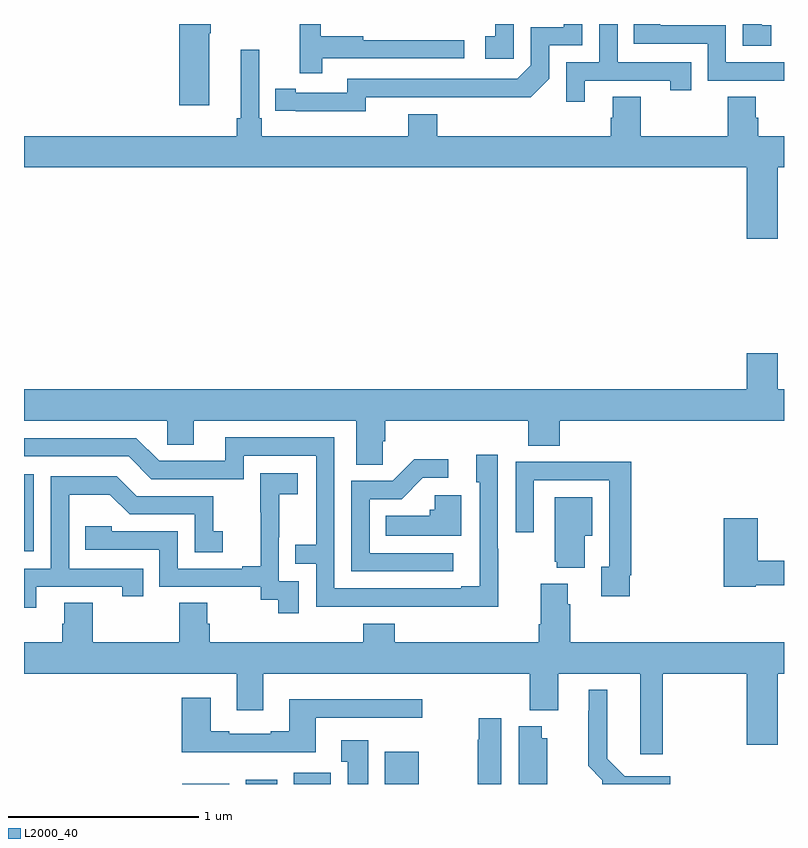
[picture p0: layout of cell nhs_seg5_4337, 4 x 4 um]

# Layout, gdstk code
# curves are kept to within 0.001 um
import gdstk
lib = gdstk.Library(unit=1e-6, precision=1e-09)
def R(c, l, rs):  # rectangles x0, y0, x1, y1
    for r in rs: c.add(gdstk.rectangle(r[:2], r[2:], *l))
def P(c, l, *ps):  # polygons
    for p in ps: c.add(gdstk.Polygon(p, *l))
L2000_40 = (2000, 40)

nhs_seg5_4337 = lib.new_cell('nhs_seg5_4337')
R(nhs_seg5_4337, L2000_40, [(365.832,902.799,366.079,902.8), (366.167,902.799,366.334,902.821), (366.419,902.799,366.615,902.857), (366.899,902.799,367.078,902.968), (365,904.023,365.052,904.429)])
P(nhs_seg5_4337, L2000_40, [(366.569,906.618),(367.318,906.618),(367.318,906.714),(366.785,906.714),(366.785,906.734),(366.562,906.734),(366.562,906.799),(366.452,906.799),(366.452,906.54),(366.569,906.54)],
  [(367.578,906.799),(367.481,906.799),(367.481,906.735),(367.428,906.735),(367.428,906.615),(367.578,906.615)],
  [(365.974,906.751),(365.982,906.751),(365.982,906.799),(365.816,906.799),(365.816,906.372),(365.974,906.372)],
  [(366.798,906.414),(367.666,906.413),(367.764,906.51),(367.764,906.687),(367.938,906.687),(367.938,906.799),(367.841,906.799),(367.841,906.783),(367.668,906.783),(367.668,906.582),(367.596,906.51),(366.702,906.51),(366.702,906.438),(366.43,906.438),(366.43,906.458),(366.322,906.458),(366.322,906.342),(366.798,906.341)],
  [(368.932,906.793),(368.883,906.793),(368.883,906.799),(368.784,906.799),(368.784,906.684),(368.932,906.684)],
  [(367.951,906.501),(368.402,906.501),(368.402,906.45),(368.513,906.45),(368.513,906.597),(368.124,906.597),(368.124,906.799),(368.028,906.799),(368.028,906.597),(367.854,906.597),(367.854,906.39),(367.951,906.39)],
  [(369,906.597),(368.694,906.597),(368.694,906.792),(368.349,906.792),(368.349,906.799),(368.209,906.799),(368.209,906.696),(368.598,906.696),(368.598,906.501),(369,906.501)],
  [(368.099,906.416),(368.099,906.306),(368.087,906.306),(368.087,906.208),(367.175,906.208),(367.175,906.325),(367.022,906.325),(367.022,906.208),(366.251,906.208),(366.251,906.304),(366.237,906.304),(366.237,906.664),(366.14,906.664),(366.14,906.304),(366.121,906.304),(366.121,906.208),(365,906.208),(365,906.044),(368.804,906.044),(368.804,905.67),(368.968,905.67),(368.968,906.044),(369,906.044),(369,906.208),(368.864,906.208),(368.864,906.306),(368.851,906.306),(368.851,906.416),(368.704,906.416),(368.704,906.208),(368.247,906.208),(368.247,906.416)],
  [(366.888,904.603),(366.902,904.603),(366.902,904.712),(367.655,904.712),(367.655,904.579),(367.82,904.579),(367.82,904.712),(369,904.712),(369,904.876),(368.968,904.876),(368.968,905.065),(368.804,905.065),(368.804,904.876),(365,904.876),(365,904.712),(365.754,904.712),(365.754,904.585),(365.893,904.585),(365.893,904.712),(366.749,904.712),(366.749,904.48),(366.888,904.48)],
  [(367.497,904.037),(367.494,904.037),(367.494,904.531),(367.379,904.531),(367.379,904.386),(367.398,904.386),(367.398,903.841),(367.301,903.841),(367.301,903.828),(366.633,903.828),(366.633,904.623),(366.059,904.623),(366.059,904.5),(365.712,904.5),(365.592,904.62),(365,904.62),(365,904.524),(365.55,904.524),(365.67,904.404),(366.156,904.404),(366.156,904.527),(366.537,904.527),(366.537,904.058),(366.427,904.058),(366.427,903.957),(366.537,903.957),(366.537,903.732),(367.497,903.731)],
  [(367.258,904.014),(366.819,904.014),(366.819,904.299),(366.988,904.299),(367.099,904.41),(367.234,904.41),(367.234,904.508),(367.055,904.508),(366.942,904.395),(366.723,904.395),(366.723,903.918),(367.258,903.918)],
  [(368.188,903.898),(368.195,903.898),(368.195,904.496),(367.903,904.496),(367.903,904.494),(367.587,904.494),(367.587,904.125),(367.683,904.125),(367.683,904.398),(368.079,904.398),(368.079,903.942),(368.039,903.942),(368.039,903.786),(368.188,903.786)],
  [(366.447,903.867),(366.342,903.867),(366.342,904.097),(366.344,904.097),(366.344,904.325),(366.442,904.325),(366.442,904.435),(366.244,904.435),(366.244,904.229),(366.245,904.229),(366.245,903.946),(366.149,903.946),(366.149,903.933),(365.808,903.933),(365.808,904.128),(365.463,904.128),(365.463,904.155),(365.323,904.155),(365.323,904.032),(365.712,904.032),(365.712,903.837),(366.246,903.837),(366.246,903.769),(366.339,903.769),(366.339,903.699),(366.447,903.699)],
  [(365.065,903.837),(365.516,903.837),(365.516,903.786),(365.627,903.786),(365.627,903.933),(365.238,903.933),(365.238,904.322),(365.452,904.322),(365.556,904.218),(365.898,904.218),(365.898,904.02),(366.046,904.02),(366.046,904.129),(365.997,904.129),(365.997,904.314),(365.593,904.314),(365.488,904.419),(365.142,904.419),(365.142,903.933),(365,903.933),(365,903.726),(365.065,903.726)],
  [(367.3,904.318),(367.161,904.318),(367.161,904.242),(367.135,904.242),(367.135,904.21),(366.904,904.21),(366.904,904.106),(367.3,904.106)],
  [(367.951,904.106),(367.99,904.106),(367.99,904.309),(367.793,904.309),(367.793,903.969),(367.805,903.969),(367.805,903.938),(367.951,903.938)],
  [(368.85,903.846),(369,903.846),(369,903.974),(368.862,903.974),(368.862,904.198),(368.684,904.198),(368.684,903.838),(368.85,903.838)],
  [(368.361,903.38),(368.804,903.38),(368.804,903.006),(368.968,903.006),(368.968,903.38),(369,903.38),(369,903.544),(367.874,903.544),(367.874,903.746),(367.861,903.746),(367.861,903.853),(367.721,903.853),(367.721,903.64),(367.709,903.64),(367.709,903.544),(366.95,903.544),(366.95,903.643),(366.785,903.643),(366.785,903.544),(365.978,903.544),(365.978,903.642),(365.965,903.642),(365.965,903.752),(365.818,903.752),(365.818,903.544),(365.361,903.544),(365.361,903.752),(365.213,903.752),(365.213,903.642),(365.201,903.642),(365.201,903.544),(365,903.544),(365,903.38),(366.119,903.38),(366.119,903.186),(366.259,903.186),(366.259,903.38),(367.661,903.38),(367.661,903.188),(367.813,903.188),(367.813,903.38),(368.243,903.38),(368.243,902.955),(368.361,902.955)],
  [(368.401,902.839),(368.163,902.839),(368.071,902.932),(368.071,903.295),(367.973,903.295),(367.973,903.185),(367.969,903.185),(367.969,902.894),(368.043,902.82),(368.043,902.799),(368.401,902.799)],
  [(366.535,903.147),(367.096,903.147),(367.096,903.244),(366.395,903.244),(366.395,903.076),(366.299,903.076),(366.299,903.063),(366.079,903.063),(366.079,903.076),(365.983,903.076),(365.983,903.253),(365.831,903.253),(365.831,902.966),(366.535,902.966)],
  [(367.513,903.145),(367.394,903.145),(367.394,903.032),(367.387,903.032),(367.387,902.799),(367.513,902.799)],
  [(367.753,903.039),(367.726,903.039),(367.726,903.103),(367.604,903.103),(367.604,902.799),(367.753,902.799)],
  [(366.811,903.028),(366.671,903.028),(366.671,902.915),(366.704,902.915),(366.704,902.799),(366.811,902.799)])

lib.write_gds('nhs_seg5_4337.gds')
